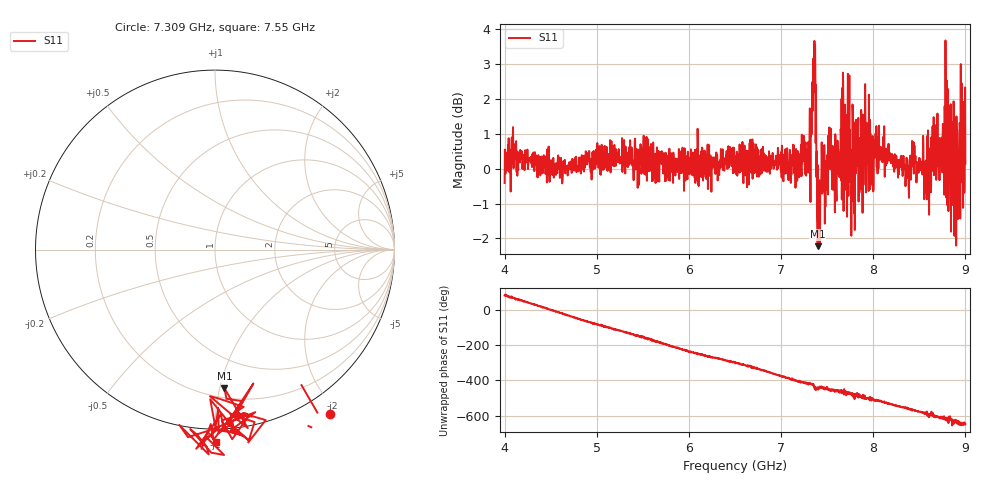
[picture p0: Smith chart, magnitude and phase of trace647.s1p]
! Created with skrf 1.8.0 (http://scikit-rf.org).
# Hz S RI R 50.0
!freq ReS11 ImS11
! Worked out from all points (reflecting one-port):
!   1601 points, 4 GHz to 9 GHz, reference 50 ohm
!   lowest |S11| = -2.2 dB at 7.397 GHz (marker M1), VSWR 7.87, Z = 13.4 - j51.7 ohm
!   phase of S11 starts at 87 deg and turns -736 deg over the sweep
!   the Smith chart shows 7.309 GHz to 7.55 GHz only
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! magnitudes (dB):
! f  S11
! 4 GHz  -0.4
! 4.1 GHz  0.5
! 4.625 GHz  -0.4
! 5.25 GHz  0.1
! 5.875 GHz  -0.1
! 6.5 GHz  0.2
! 7.125 GHz  0.2
! 7.294 GHz  -0.1
! 7.356 GHz  2.8
! 7.397 GHz  -2.2
! 7.416 GHz  -0.3
! 7.538 GHz  1.1
! 7.578 GHz  0.4
! 7.672 GHz  2.7
! 7.75 GHz  -0.1
! 7.775 GHz  1.8
! 7.8 GHz  -1.8
! 7.928 GHz  1.3
! 7.981 GHz  -0.1
! 8.038 GHz  0.0
! 8.375 GHz  -0.2
! 8.441 GHz  -0.1
! 8.581 GHz  -0.9
! 8.809 GHz  0.7
! 8.862 GHz  -1.0
! 8.922 GHz  -0.3
! 8.972 GHz  0.9
! 9 GHz  0.1
